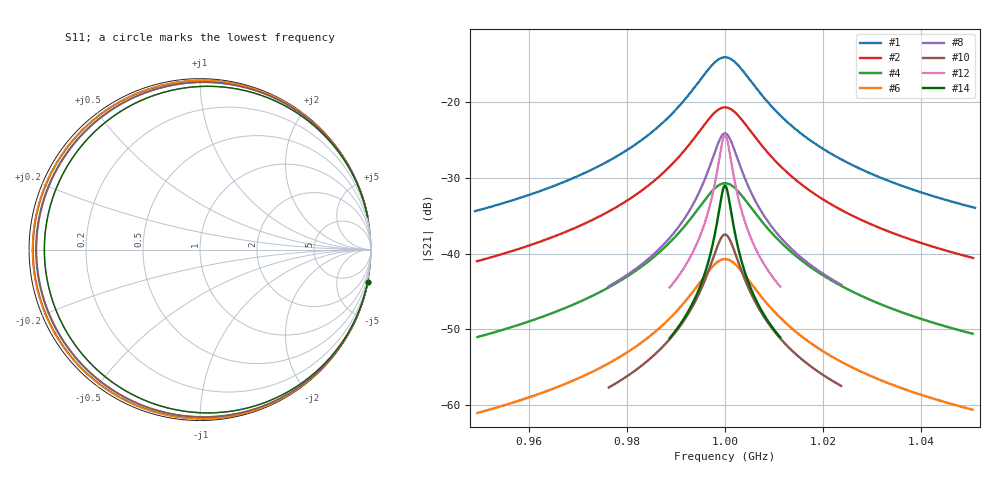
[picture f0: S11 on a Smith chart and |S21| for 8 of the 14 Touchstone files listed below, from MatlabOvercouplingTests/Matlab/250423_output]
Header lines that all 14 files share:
# Hz S RI R 50
Fixed: Q0 = 10000.000000, f0 = 1000000000.000000, n = 1001, rel_span = 10.000000
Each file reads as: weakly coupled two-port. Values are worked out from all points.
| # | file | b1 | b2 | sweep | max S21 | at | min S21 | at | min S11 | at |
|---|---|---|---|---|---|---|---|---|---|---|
| 1 | output_1_7.s2p | 100.000000 | 1.000000 | 949 MHz to 1.051 GHz | -14.15 dB | 1 GHz | -34.4 dB | 949 MHz | -0.3 dB | 1 GHz |
| 2 | output_1_9.s2p | 100.000000 | 0.215443 | 949.4 MHz to 1.051 GHz | -20.75 dB | 1 GHz | -41.0 dB | 949.4 MHz | -0.2 dB | 1 GHz |
| 3 | output_1_10.s2p | 100.000000 | 0.100000 | 949.5 MHz to 1.051 GHz | -24.07 dB | 1 GHz | -44.3 dB | 949.5 MHz | -0.2 dB | 1 GHz |
| 4 | output_1_12.s2p | 100.000000 | 0.021544 | 949.5 MHz to 1.051 GHz | -30.73 dB | 1 GHz | -51.0 dB | 949.5 MHz | -0.2 dB | 1 GHz |
| 5 | output_1_14.s2p | 100.000000 | 0.004642 | 949.5 MHz to 1.051 GHz | -37.40 dB | 1 GHz | -57.7 dB | 949.5 MHz | -0.2 dB | 1 GHz |
| 6 | output_1_15.s2p | 100.000000 | 0.002154 | 949.5 MHz to 1.051 GHz | -40.73 dB | 1 GHz | -61.0 dB | 949.5 MHz | -0.2 dB | 1 GHz |
| 7 | output_2_8.s2p | 46.415888 | 0.215443 | 976.2 MHz to 1.024 GHz | -17.54 dB | 1 GHz | -37.7 dB | 976.18 MHz | -0.5 dB | 1 GHz |
| 8 | output_2_10.s2p | 46.415888 | 0.046416 | 976.3 MHz to 1.024 GHz | -24.17 dB | 1 GHz | -44.3 dB | 976.27 MHz | -0.4 dB | 1 GHz |
| 9 | output_2_12.s2p | 46.415888 | 0.010000 | 976.3 MHz to 1.024 GHz | -30.83 dB | 1 GHz | -51.0 dB | 976.29 MHz | -0.4 dB | 1 GHz |
| 10 | output_2_14.s2p | 46.415888 | 0.002154 | 976.3 MHz to 1.024 GHz | -37.50 dB | 1 GHz | -57.6 dB | 976.29 MHz | -0.4 dB | 1 GHz |
| 11 | output_3_7.s2p | 21.544347 | 0.215443 | 988.6 MHz to 1.011 GHz | -14.46 dB | 1 GHz | -34.5 dB | 988.62 MHz | -1.0 dB | 1 GHz |
| 12 | output_3_10.s2p | 21.544347 | 0.021544 | 988.7 MHz to 1.011 GHz | -24.38 dB | 1 GHz | -44.5 dB | 988.72 MHz | -0.8 dB | 1 GHz |
| 13 | output_3_11.s2p | 21.544347 | 0.010000 | 988.7 MHz to 1.011 GHz | -27.71 dB | 1 GHz | -47.8 dB | 988.72 MHz | -0.8 dB | 1 GHz |
| 14 | output_3_12.s2p | 21.544347 | 0.004642 | 988.7 MHz to 1.011 GHz | -31.04 dB | 1 GHz | -51.1 dB | 988.73 MHz | -0.8 dB | 1 GHz |
